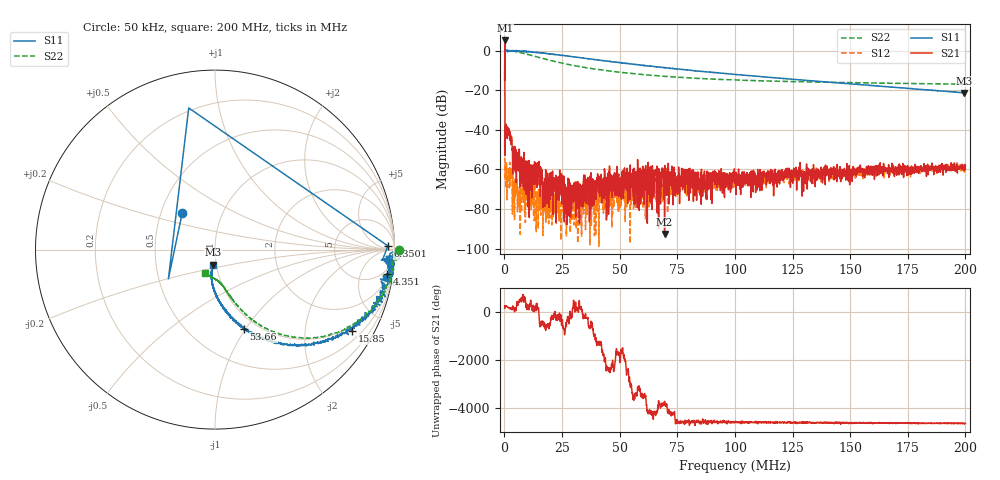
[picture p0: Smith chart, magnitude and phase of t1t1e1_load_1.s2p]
! 27-Aug-26 2:20:55 PM
! E:\20260827_VNA\T1T1E1_LOAD_1.S2P
! CHANNEL.1
! TR.MEASUREMENT
! CORRECTED.DATA
# GHZ S RI R 50.0
! FREQ.GHZ  S11RE  S11IM  S21RE  S21IM  S12RE  S12IM  S22RE  S22IM
!; PortSelection: Port_12
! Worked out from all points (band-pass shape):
!   2000 points, 50 kHz to 200 MHz, reference 50 ohm
!   highest |S21| = 5.10 dB at 150 kHz (marker M1); lowest = -92.5 dB at 69.47 MHz (marker M2)
!   |S21| within 3 dB of the highest: 135 kHz to 155.2 kHz (20.18 kHz wide, 13.9 % of centre)
!   lowest |S11| = -21.4 dB at 199.6 MHz (marker M3), VSWR 1.19, Z = 48.4 - j8.25 ohm
!   |S11| at or under -10 dB: start of sweep to 153.3 kHz; 80.82 MHz to 81.46 MHz (637.3 kHz wide, 0.785 % of centre); 81.48 MHz to end of sweep
!   |S22| runs from -17.0 to 0.2 dB; largest |S21 - S12| = 1.8
!   S11 on the Smith chart (normalised r, x): 50 kHz: 0.64, +0.28; 350.1 kHz: 40, +23; 4.351 MHz: 3, -14; 15.85 MHz: 0.80, -3.48; 53.66 MHz: 0.87, -0.98; 200 MHz: 0.97, -0.17
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5e-05  -0.1833 0.2013  -0.1581 0.0859  0.00351 0.00361  1.026 0.000485
0.000150025  -0.2597 -0.1629  -0.1483 -1.793  0.00155 0.000972  1.006 -0.0165
0.000350075  0.963 0.0208  -0.000572 -0.00729  -0.000123 0.00053  0.9967 -0.0353
0.001350325  0.9851 -0.1127  -0.0109 -0.00192  7.26e-05 -0.000354  0.9888 -0.1005
0.004351076  0.9569 -0.1341  0.000999 3.8e-05  5.22e-05 1.54e-05  0.9043 -0.2898
0.01105275  0.8544 -0.3602  0.000109 -0.000279  5.58e-05 0.000134  0.6032 -0.4847
0.0132533  0.8037 -0.4056  -0.000668 0.000208  -2.67e-05 -0.000467  0.5161 -0.4909
0.01585395  0.765 -0.4533  -0.000838 0.00072  -0.000301 -0.000154  0.4299 -0.4871
0.01755438  0.7116 -0.4656  -0.000158 -0.000128  -0.000136 1.61e-05  0.383 -0.4762
0.03345835  0.3873 -0.5232  0.000298 0.000256  1.66e-05 1.15e-05  0.1619 -0.3508
0.03515878  0.3655 -0.5237  7.67e-05 -0.00026  2.98e-05 -5.1e-06  0.1491 -0.3407
0.0372593  0.3281 -0.5195  -0.000117 0.000319  -0.000152 0.000212  0.1382 -0.328
0.04106025  0.2848 -0.5013  -0.000235 0.000102  -6.51e-05 8.79e-05  0.1198 -0.3075
0.05366341  0.1622 -0.4415  -0.000746 0.000425  -5.46e-05 0.000164  0.0815 -0.2566
0.06516628  0.0983 -0.3817  0.000389 0.000821  0.000156 0.000553  0.0606 -0.2269
0.06676668  0.0892 -0.3761  9.63e-05 0.000879  -0.000304 0.000251  0.0582 -0.2229
0.06946736  0.0765 -0.3588  -1.73e-05 -1.61e-05  -7.09e-05 0.00038  0.0552 -0.2166
0.100075  0.00436 -0.2516  7.35e-05 0.000534  0.000171 0.000442  0.0227 -0.1798
0.1333833  -0.0178 -0.1712  0.000419 0.000137  0.000451 0.000767  -0.00374 -0.1616
0.1666917  -0.0188 -0.1201  0.00106 0.000788  0.000649 0.000515  -0.0291 -0.1478
0.1995999  -0.00965 -0.0847  0.00128 0.000369  0.000822 0.000241  -0.0552 -0.1315
0.2  -0.00982 -0.0849  0.000951 0.000278  0.00121 0.000298  -0.0554 -0.1306
